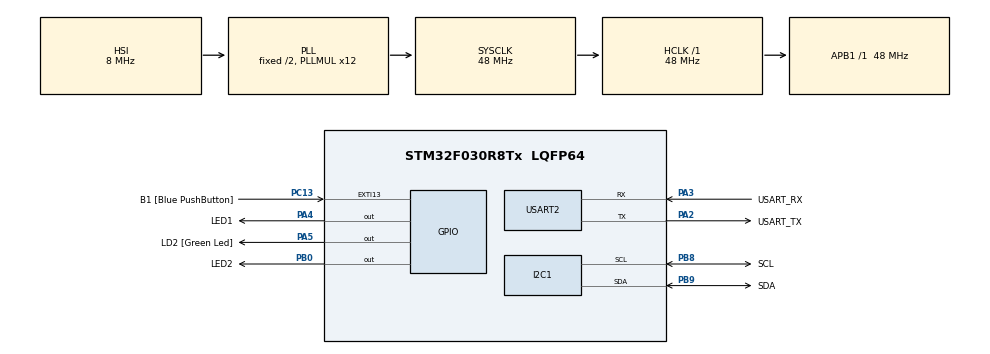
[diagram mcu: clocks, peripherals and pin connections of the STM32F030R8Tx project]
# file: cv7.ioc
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Dma.Request0=USART2_RX
Dma.USART2_RX.0.Direction=DMA_PERIPH_TO_MEMORY
Dma.USART2_RX.0.Instance=DMA1_Channel5
Dma.USART2_RX.0.MemDataAlignment=DMA_MDATAALIGN_BYTE
Dma.USART2_RX.0.MemInc=DMA_MINC_ENABLE
Dma.USART2_RX.0.Mode=DMA_CIRCULAR
Dma.USART2_RX.0.PeriphDataAlignment=DMA_PDATAALIGN_BYTE
Dma.USART2_RX.0.PeriphInc=DMA_PINC_DISABLE
Dma.USART2_RX.0.Priority=DMA_PRIORITY_LOW
FREERTOS.Queues01=xVisualQueue,16,uint16_t,0,Dynamic,NULL,NULL
FREERTOS.Tasks01=defaultTask,0,128,StartDefaultTask,Default,NULL,Dynamic,NULL,NULL;VisualTask,0,128,StartVisualTask,Default,NULL,Dynamic,NULL,NULL;AcceleroTask,0,128,StartAcceleroTask,Default,NULL,Dynamic,NULL,NULL
FREERTOS.configUSE_NEWLIB_REENTRANT=1
Mcu.Family=STM32F0
Mcu.Name=STM32F030R8Tx
Mcu.Package=LQFP64
NVIC.DMA1_Channel4_5_IRQn=true\:3\:0\:false\:false\:true\:true\:false\:true\:true
NVIC.TIM14_IRQn=true\:3\:0\:false\:false\:true\:false\:false\:true\:true
NVIC.TimeBase=TIM14_IRQn
NVIC.TimeBaseIP=TIM14
PA13.GPIO_Label=TMS
PA13.Mode=Serial_Wire
PA13.Signal=SYS_SWDIO
PA14.GPIO_Label=TCK
PA14.Mode=Serial_Wire
PA14.Signal=SYS_SWCLK
PA2.GPIO_Label=USART_TX
PA2.GPIO_Mode=GPIO_MODE_AF_PP
PA2.GPIO_PuPd=GPIO_NOPULL
PA2.GPIO_Speed=GPIO_SPEED_FREQ_LOW
PA2.Mode=Asynchronous
PA2.Signal=USART2_TX
PA3.GPIO_Label=USART_RX
PA3.GPIO_Mode=GPIO_MODE_AF_PP
PA3.GPIO_PuPd=GPIO_NOPULL
PA3.GPIO_Speed=GPIO_SPEED_FREQ_LOW
PA3.Mode=Asynchronous
PA3.Signal=USART2_RX
PA4.GPIO_Label=LED1
PA4.GPIO_PuPd=GPIO_PULLUP
PA4.Signal=GPIO_Output
PA5.GPIO_Label=LD2 [Green Led]
PA5.GPIO_Mode=GPIO_MODE_OUTPUT_PP
PA5.GPIO_PuPd=GPIO_NOPULL
PA5.GPIO_Speed=GPIO_SPEED_FREQ_LOW
PA5.Signal=GPIO_Output
PB0.GPIO_Label=LED2
PB0.GPIO_PuPd=GPIO_PULLUP
PB0.Signal=GPIO_Output
PB8.GPIO_Label=SCL
PB8.Mode=I2C
PB8.Signal=I2C1_SCL
PB9.GPIO_Label=SDA
PB9.Mode=I2C
PB9.Signal=I2C1_SDA
PC13.GPIO_Label=B1 [Blue PushButton]
PC13.GPIO_ModeDefaultEXTI=GPIO_MODE_IT_FALLING
PC13.Signal=GPXTI13
PC14-OSC32_IN.Mode=LSE-External-Oscillator
PC14-OSC32_IN.Signal=RCC_OSC32_IN
PC15-OSC32_OUT.Mode=LSE-External-Oscillator
PC15-OSC32_OUT.Signal=RCC_OSC32_OUT
PF0-OSC_IN.Mode=HSE-External-Clock-Source
PF0-OSC_IN.Signal=RCC_OSC_IN
PF1-OSC_OUT.Signal=RCC_OSC_OUT
ProjectManager.HeapSize=0x200
ProjectManager.StackSize=0x400
ProjectManager.TargetToolchain=STM32CubeIDE
RCC.AHBFreq_Value=48000000
RCC.APB1Freq_Value=48000000
RCC.APB1TimFreq_Value=48000000
RCC.HCLKFreq_Value=48000000
RCC.PLLMUL=RCC_PLL_MUL12
RCC.SYSCLKFreq_VALUE=48000000
RCC.SYSCLKSource=RCC_SYSCLKSOURCE_PLLCLK
USART2.VirtualMode-Asynchronous=VM_ASYNC
VP_FREERTOS_VS_CMSIS_V1.Mode=CMSIS_V1
VP_SYS_VS_tim14.Mode=TIM14
board=NUCLEO-F030R8

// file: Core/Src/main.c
/* USER CODE BEGIN Header */
/**
  ******************************************************************************
  * @file           : main.c
  * @brief          : Main program body
  ******************************************************************************
  * @attention
  *
  * Copyright (c) 2023 STMicroelectronics.
  * All rights reserved.
  *
  * This software is licensed under terms that can be found in the LICENSE file
  * in the root directory of this software component.
  * If no LICENSE file comes with this software, it is provided AS-IS.
  *
  ******************************************************************************
  */
/* USER CODE END Header */
#include "main.h"
#include "cmsis_os.h"

/* USER CODE BEGIN Includes */
#include <stdio.h>
#include "lis2dw12_reg.h"
/* USER CODE END Includes */

/* USER CODE BEGIN PD */
#define pause 1000
/* USER CODE END PD */

I2C_HandleTypeDef hi2c1;

UART_HandleTypeDef huart2;
DMA_HandleTypeDef hdma_usart2_rx;

osThreadId defaultTaskHandle;
osThreadId VisualTaskHandle;
osThreadId AcceleroTaskHandle;
osMessageQId xVisualQueueHandle;

void SystemClock_Config(void);
static void MX_GPIO_Init(void);
static void MX_DMA_Init(void);
static void MX_USART2_UART_Init(void);
static void MX_I2C1_Init(void);
void StartDefaultTask(void const * argument);
void StartVisualTask(void const * argument);
void StartAcceleroTask(void const * argument);

/* USER CODE BEGIN 0 */
static int32_t platform_write(void *handle, uint8_t reg, uint8_t *bufp, uint16_t len);
static int32_t platform_read(void *handle, uint8_t reg, uint8_t *bufp, uint16_t len);
static stmdev_ctx_t lis2dw12 = {
 .write_reg = platform_write,
 .read_reg = platform_read,
 .handle = &hi2c1,
};

/* USER CODE END 0 */

int main(void)
{

  /* MCU Configuration--------------------------------------------------------*/

  /* Reset of all peripherals, Initializes the Flash interface and the Systick. */
  HAL_Init();

  /* Configure the system clock */
  SystemClock_Config();

  /* Initialize all configured peripherals */
  MX_GPIO_Init();
  MX_DMA_Init();
  MX_USART2_UART_Init();
  MX_I2C1_Init();

  /* Create the queue(s) */
  /* definition and creation of xVisualQueue */
  osMessageQDef(xVisualQueue, 16, uint16_t);
  xVisualQueueHandle = osMessageCreate(osMessageQ(xVisualQueue), NULL);

  /* Create the thread(s) */
  /* definition and creation of defaultTask */
  osThreadDef(defaultTask, StartDefaultTask, osPriorityNormal, 0, 128);
  defaultTaskHandle = osThreadCreate(osThread(defaultTask), NULL);

  /* definition and creation of VisualTask */
  osThreadDef(VisualTask, StartVisualTask, osPriorityNormal, 0, 128);
  VisualTaskHandle = osThreadCreate(osThread(VisualTask), NULL);

  /* definition and creation of AcceleroTask */
  osThreadDef(AcceleroTask, StartAcceleroTask, osPriorityNormal, 0, 128);
  AcceleroTaskHandle = osThreadCreate(osThread(AcceleroTask), NULL);

  /* Start scheduler */
  osKernelStart();

  /* We should never get here as control is now taken by the scheduler */
  /* Infinite loop */
  while (1)
  {

  }
}

void SystemClock_Config(void)
{
  RCC_OscInitTypeDef RCC_OscInitStruct = {0};
  RCC_ClkInitTypeDef RCC_ClkInitStruct = {0};
  RCC_PeriphCLKInitTypeDef PeriphClkInit = {0};

  /** Initializes the RCC Oscillators according to the specified parameters
  * in the RCC_OscInitTypeDef structure.
  */
  RCC_OscInitStruct.OscillatorType = RCC_OSCILLATORTYPE_HSI;
  RCC_OscInitStruct.HSIState = RCC_HSI_ON;
  RCC_OscInitStruct.HSICalibrationValue = RCC_HSICALIBRATION_DEFAULT;
  RCC_OscInitStruct.PLL.PLLState = RCC_PLL_ON;
  RCC_OscInitStruct.PLL.PLLSource = RCC_PLLSOURCE_HSI;
  RCC_OscInitStruct.PLL.PLLMUL = RCC_PLL_MUL12;
  RCC_OscInitStruct.PLL.PREDIV = RCC_PREDIV_DIV1;
  if (HAL_RCC_OscConfig(&RCC_OscInitStruct) != HAL_OK)
  {
    Error_Handler();
  }

  /** Initializes the CPU, AHB and APB buses clocks
  */
  RCC_ClkInitStruct.ClockType = RCC_CLOCKTYPE_HCLK|RCC_CLOCKTYPE_SYSCLK
                              |RCC_CLOCKTYPE_PCLK1;
  RCC_ClkInitStruct.SYSCLKSource = RCC_SYSCLKSOURCE_PLLCLK;
  RCC_ClkInitStruct.AHBCLKDivider = RCC_SYSCLK_DIV1;
  RCC_ClkInitStruct.APB1CLKDivider = RCC_HCLK_DIV1;

  if (HAL_RCC_ClockConfig(&RCC_ClkInitStruct, FLASH_LATENCY_1) != HAL_OK)
  {
    Error_Handler();
  }
  PeriphClkInit.PeriphClockSelection = RCC_PERIPHCLK_I2C1;
  PeriphClkInit.I2c1ClockSelection = RCC_I2C1CLKSOURCE_HSI;
  if (HAL_RCCEx_PeriphCLKConfig(&PeriphClkInit) != HAL_OK)
  {
    Error_Handler();
  }
}

static void MX_I2C1_Init(void)
{

  hi2c1.Instance = I2C1;
  hi2c1.Init.Timing = 0x2000090E;
  hi2c1.Init.OwnAddress1 = 0;
  hi2c1.Init.AddressingMode = I2C_ADDRESSINGMODE_7BIT;
  hi2c1.Init.DualAddressMode = I2C_DUALADDRESS_DISABLE;
  hi2c1.Init.OwnAddress2 = 0;
  hi2c1.Init.OwnAddress2Masks = I2C_OA2_NOMASK;
  hi2c1.Init.GeneralCallMode = I2C_GENERALCALL_DISABLE;
  hi2c1.Init.NoStretchMode = I2C_NOSTRETCH_DISABLE;
  if (HAL_I2C_Init(&hi2c1) != HAL_OK)
  {
    Error_Handler();
  }

  /** Configure Analogue filter
  */
  if (HAL_I2CEx_ConfigAnalogFilter(&hi2c1, I2C_ANALOGFILTER_ENABLE) != HAL_OK)
  {
    Error_Handler();
  }

  /** Configure Digital filter
  */
  if (HAL_I2CEx_ConfigDigitalFilter(&hi2c1, 0) != HAL_OK)
  {
    Error_Handler();
  }

}

static void MX_USART2_UART_Init(void)
{

  huart2.Instance = USART2;
  huart2.Init.BaudRate = 38400;
  huart2.Init.WordLength = UART_WORDLENGTH_8B;
  huart2.Init.StopBits = UART_STOPBITS_1;
  huart2.Init.Parity = UART_PARITY_NONE;
  huart2.Init.Mode = UART_MODE_TX_RX;
  huart2.Init.HwFlowCtl = UART_HWCONTROL_NONE;
  huart2.Init.OverSampling = UART_OVERSAMPLING_16;
  huart2.Init.OneBitSampling = UART_ONE_BIT_SAMPLE_DISABLE;
  huart2.AdvancedInit.AdvFeatureInit = UART_ADVFEATURE_NO_INIT;
  if (HAL_UART_Init(&huart2) != HAL_OK)
  {
    Error_Handler();
  }

}

static void MX_DMA_Init(void)
{

  /* DMA controller clock enable */
  __HAL_RCC_DMA1_CLK_ENABLE();

  /* DMA interrupt init */
  /* DMA1_Channel4_5_IRQn interrupt configuration */
  HAL_NVIC_SetPriority(DMA1_Channel4_5_IRQn, 3, 0);
  HAL_NVIC_EnableIRQ(DMA1_Channel4_5_IRQn);

}

static void MX_GPIO_Init(void)
{
  GPIO_InitTypeDef GPIO_InitStruct = {0};

  /* GPIO Ports Clock Enable */
  __HAL_RCC_GPIOC_CLK_ENABLE();
  __HAL_RCC_GPIOF_CLK_ENABLE();
  __HAL_RCC_GPIOA_CLK_ENABLE();
  __HAL_RCC_GPIOB_CLK_ENABLE();

  /*Configure GPIO pin Output Level */
  HAL_GPIO_WritePin(GPIOA, LED1_Pin|LD2_Pin, GPIO_PIN_RESET);

  /*Configure GPIO pin Output Level */
  HAL_GPIO_WritePin(LED2_GPIO_Port, LED2_Pin, GPIO_PIN_RESET);

  /*Configure GPIO pin : B1_Pin */
  GPIO_InitStruct.Pin = B1_Pin;
  GPIO_InitStruct.Mode = GPIO_MODE_IT_FALLING;
  GPIO_InitStruct.Pull = GPIO_NOPULL;
  HAL_GPIO_Init(B1_GPIO_Port, &GPIO_InitStruct);

  /*Configure GPIO pin : LED1_Pin */
  GPIO_InitStruct.Pin = LED1_Pin;
  GPIO_InitStruct.Mode = GPIO_MODE_OUTPUT_PP;
  GPIO_InitStruct.Pull = GPIO_PULLUP;
  GPIO_InitStruct.Speed = GPIO_SPEED_FREQ_LOW;
  HAL_GPIO_Init(LED1_GPIO_Port, &GPIO_InitStruct);

  /*Configure GPIO pin : LD2_Pin */
  GPIO_InitStruct.Pin = LD2_Pin;
  GPIO_InitStruct.Mode = GPIO_MODE_OUTPUT_PP;
  GPIO_InitStruct.Pull = GPIO_NOPULL;
  GPIO_InitStruct.Speed = GPIO_SPEED_FREQ_LOW;
  HAL_GPIO_Init(LD2_GPIO_Port, &GPIO_InitStruct);

  /*Configure GPIO pin : LED2_Pin */
  GPIO_InitStruct.Pin = LED2_Pin;
  GPIO_InitStruct.Mode = GPIO_MODE_OUTPUT_PP;
  GPIO_InitStruct.Pull = GPIO_PULLUP;
  GPIO_InitStruct.Speed = GPIO_SPEED_FREQ_LOW;
  HAL_GPIO_Init(LED2_GPIO_Port, &GPIO_InitStruct);

}

/* USER CODE BEGIN 4 */
static int32_t platform_write(void *handle, uint8_t reg, uint8_t *bufp, uint16_t len)
{
 HAL_I2C_Mem_Write(handle, LIS2DW12_I2C_ADD_H, reg, I2C_MEMADD_SIZE_8BIT, bufp, len, 1000);
 return 0;
}
static int32_t platform_read(void *handle, uint8_t reg, uint8_t *bufp, uint16_t len)
{
 HAL_I2C_Mem_Read(handle, LIS2DW12_I2C_ADD_H, reg, I2C_MEMADD_SIZE_8BIT, bufp, len, 1000);
 return 0;
}

int _write(int file, char const *buf, int n)
{
	/* stdout redirection to UART2 */
	HAL_UART_Transmit(&huart2, (uint8_t*)(buf), n, HAL_MAX_DELAY);
	return n;
}
/* USER CODE END 4 */

void StartDefaultTask(void const * argument)
{
  /* USER CODE BEGIN 5 */
  /* Infinite loop */
  for(;;)
  {
    /*int16_t msg;
    msg = -100;
    xQueueSend(xVisualQueueHandle, &msg, 0);
    osDelay(300);*/
    osDelay(1);
  }
  /* USER CODE END 5 */
}

void StartVisualTask(void const * argument)
{
  /* USER CODE BEGIN StartVisualTask */
  /* Infinite loop */
  for(;;)
  {
	  int16_t msg;
	  if(xQueueReceive(xVisualQueueHandle, &msg, portMAX_DELAY))
	  {
		  if(msg<-1000)
		  {
			  HAL_GPIO_WritePin(LED1_GPIO_Port,LED1_Pin,GPIO_PIN_SET);
			  HAL_GPIO_WritePin(LED2_GPIO_Port,LED2_Pin,GPIO_PIN_RESET);
		  }
		  else if(msg>1000)
		  {
			  HAL_GPIO_WritePin(LED1_GPIO_Port,LED1_Pin,GPIO_PIN_RESET);
			  HAL_GPIO_WritePin(LED2_GPIO_Port,LED2_Pin,GPIO_PIN_SET);
		  }
		  else
		  {
			  HAL_GPIO_WritePin(LED1_GPIO_Port,LED1_Pin,GPIO_PIN_RESET);
			  HAL_GPIO_WritePin(LED2_GPIO_Port,LED2_Pin,GPIO_PIN_RESET);
		  }
	  }
	  osDelay(1);
  }
  /* USER CODE END StartVisualTask */
}

void StartAcceleroTask(void const * argument)
{
  /* USER CODE BEGIN StartAcceleroTask */
  /* Infinite loop */
	uint32_t wait = 0;

	/*uint8_t whoamI = 0;
	lis2dw12_device_id_get(&lis2dw12, &whoamI);
	printf("LIS2DW12_ID %s\n", (whoamI == LIS2DW12_ID) ? "OK" : "FAIL");
    osDelay(1);*/

	lis2dw12_full_scale_set(&lis2dw12, LIS2DW12_2g);
	lis2dw12_power_mode_set(&lis2dw12, LIS2DW12_CONT_LOW_PWR_LOW_NOISE_2);
	lis2dw12_block_data_update_set(&lis2dw12, PROPERTY_ENABLE);
	lis2dw12_fifo_mode_set(&lis2dw12, LIS2DW12_STREAM_MODE); // enable continuous FIFO
	lis2dw12_data_rate_set(&lis2dw12, LIS2DW12_XL_ODR_25Hz); // enable part from power-down

  for(;;)
  {

    uint8_t samples;
    int16_t raw_acceleration[3];

    lis2dw12_fifo_data_level_get(&lis2dw12, &samples);
    for (uint8_t i = 0; i < samples; i++)
    {
    	lis2dw12_acceleration_raw_get(&lis2dw12, raw_acceleration);
    	if(xTaskGetTickCount() > wait)
    	{
    		printf("X=%d Y=%d Z=%d\n", raw_acceleration[0], raw_acceleration[1], raw_acceleration[2]);
    		wait = xTaskGetTickCount()+pause;
    	}

    }
    xQueueSend(xVisualQueueHandle,&raw_acceleration[0],0);
    osDelay(50);

  }
  /* USER CODE END StartAcceleroTask */
}

void HAL_TIM_PeriodElapsedCallback(TIM_HandleTypeDef *htim)
{
  if (htim->Instance == TIM14) {
    HAL_IncTick();
  }
}

void Error_Handler(void)
{
  __disable_irq();
  while (1)
  {
  }
}
